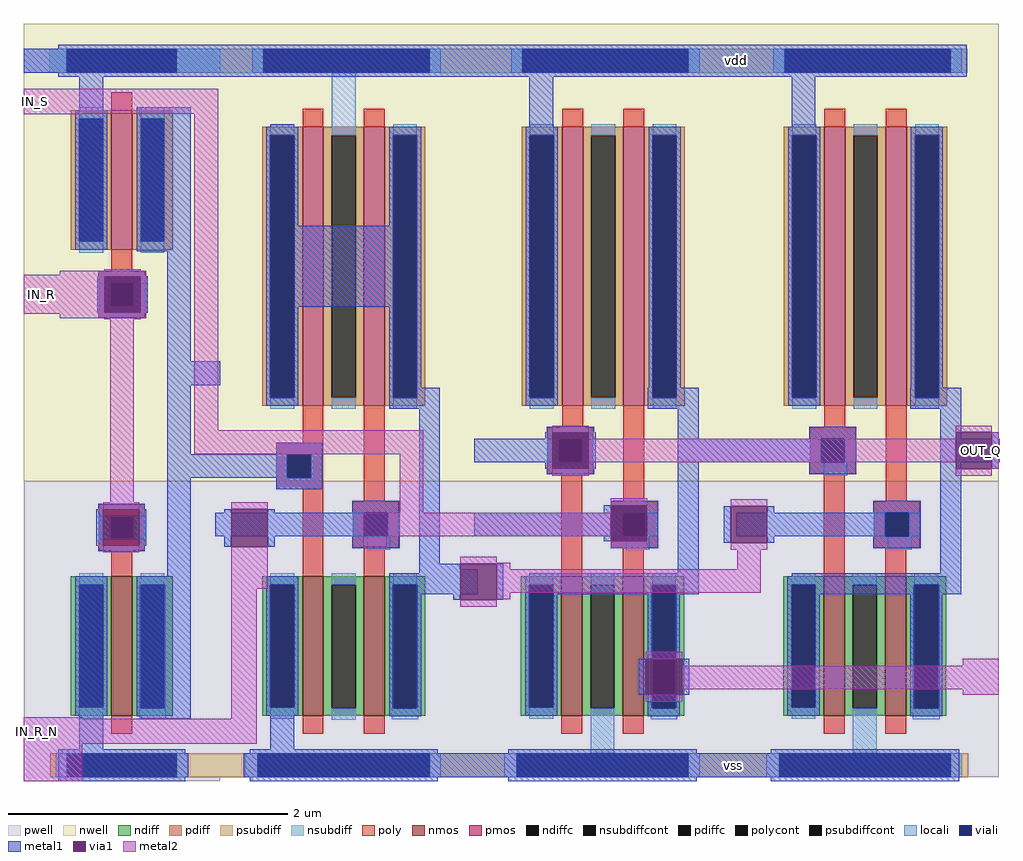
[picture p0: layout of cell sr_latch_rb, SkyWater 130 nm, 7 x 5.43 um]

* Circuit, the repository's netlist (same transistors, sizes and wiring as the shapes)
* NGSPICE file created from sr_latch_rb.ext - technology: sky130A

.subckt sky130_fd_pr__nfet_01v8_BXYDM4 a_15_n131# a_n15_n157# a_n73_n131# VSUBS
X0 a_15_n131# a_n15_n157# a_n73_n131# VSUBS sky130_fd_pr__nfet_01v8 ad=0.29 pd=2.58 as=0.29 ps=2.58 w=1 l=0.15
.ends

.subckt sky130_fd_pr__pfet_01v8_7PK3FC a_n73_n64# a_n33_n161# m1_n141_190# a_15_n64#
+ w_n141_n178#
X0 a_15_n64# a_n33_n161# a_n73_n64# w_n141_n178# sky130_fd_pr__pfet_01v8 ad=0.29 pd=2.58 as=0.29 ps=2.58 w=1 l=0.15
.ends

.subckt inv vin vout vdd vss
XXMn vout vin vss vss sky130_fd_pr__nfet_01v8_BXYDM4
Xsky130_fd_pr__pfet_01v8_7PK3FC_0 vdd vin vdd vout vdd sky130_fd_pr__pfet_01v8_7PK3FC
.ends

.subckt sky130_fd_pr__pfet_01v8_7P3MHC a_n16_n190# w_n141_n200# a_n74_n164# a_14_n164#
X0 a_14_n164# a_n16_n190# a_n74_n164# w_n141_n200# sky130_fd_pr__pfet_01v8 ad=0.58 pd=4.58 as=0.58 ps=4.58 w=2 l=0.15
.ends

.subckt nor IN_A IN_B OUT vdd vss
Xsky130_fd_pr__pfet_01v8_7P3MHC_1 IN_B vdd OUT sky130_fd_pr__pfet_01v8_7P3MHC_1/a_14_n164#
+ sky130_fd_pr__pfet_01v8_7P3MHC
Xsky130_fd_pr__pfet_01v8_7P3MHC_2 IN_A vdd sky130_fd_pr__pfet_01v8_7P3MHC_1/a_14_n164#
+ vdd sky130_fd_pr__pfet_01v8_7P3MHC
X0 OUT IN_B vss vss sky130_fd_pr__nfet_01v8 ad=0.29 pd=2.58 as=0.145 ps=1.29 w=1 l=0.15
X1 vss IN_A OUT vss sky130_fd_pr__nfet_01v8 ad=0.145 pd=1.29 as=0.29 ps=2.58 w=1 l=0.15
.ends

.subckt nand IN_A IN_B OUT vdd vss
Xsky130_fd_pr__pfet_01v8_7P3MHC_1 IN_B vdd OUT vdd sky130_fd_pr__pfet_01v8_7P3MHC
Xsky130_fd_pr__pfet_01v8_7P3MHC_2 IN_A vdd vdd OUT sky130_fd_pr__pfet_01v8_7P3MHC
X0 OUT IN_B drain_mna vss sky130_fd_pr__nfet_01v8 ad=0.29 pd=2.58 as=0.145 ps=1.29 w=1 l=0.15
X1 drain_mna IN_A vss vss sky130_fd_pr__nfet_01v8 ad=0.145 pd=1.29 as=0.29 ps=2.58 w=1 l=0.15
.ends

.subckt sr_latch_rb IN_S IN_R IN_R_N OUT_Q vdd vss
Xinv_0 IN_R inv_0/vout vdd vss inv
XX_NOR_TOP OUT_Q IN_S X_NOR_TOP/OUT vdd vss nor
XX_NOR_BOTTOM X_NOR_TOP/OUT nand_0/OUT OUT_Q vdd vss nor
Xnand_0 inv_0/vout IN_R_N nand_0/OUT vdd vss nand
.ends

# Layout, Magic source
magic
tech sky130A
magscale 1 2
<< nwell >>
rect -6629 1370 -5316 1404
<< pwell >>
rect -6628 360 -5312 394
<< psubdiff >>
rect -6628 360 -5312 394
<< nsubdiff >>
rect -6629 1370 -5316 1404
<< metal1 >>
rect -6616 1364 -5314 1410
rect -6432 789 -6358 823
rect -6020 811 -5986 845
rect -5918 802 -5908 854
rect -5856 802 -5846 854
rect -5340 802 -5330 854
rect -5278 802 -5268 854
rect -6378 690 -6368 744
rect -6316 690 -6306 744
rect -6020 705 -5986 739
rect -5834 698 -5824 750
rect -5772 698 -5762 750
rect -5662 696 -5652 748
rect -5600 696 -5590 748
rect -6078 658 -6040 666
rect -6050 614 -6040 658
rect -5988 614 -5978 666
rect -5784 478 -5774 530
rect -5722 478 -5712 530
rect -6604 360 -6430 394
rect -6350 360 -5333 394
<< via1 >>
rect -5908 802 -5856 854
rect -5330 802 -5278 854
rect -6368 690 -6316 744
rect -5824 698 -5772 750
rect -5652 696 -5600 748
rect -6040 614 -5988 666
rect -5774 478 -5722 530
<< metal2 >>
rect -6666 1311 -6387 1347
rect -6666 1310 -6582 1311
rect -6614 1080 -6552 1086
rect -6666 1024 -6552 1080
rect -6614 1018 -6552 1024
rect -6421 857 -6387 1311
rect -6421 823 -6093 857
rect -6368 744 -6316 754
rect -6127 739 -6093 823
rect -5908 854 -5856 864
rect -5330 854 -5278 864
rect -5856 811 -5330 845
rect -5908 792 -5856 802
rect -5278 845 -5268 854
rect -5278 811 -5267 845
rect -5278 802 -5268 811
rect -5330 792 -5278 802
rect -5824 750 -5772 760
rect -6179 705 -5824 739
rect -6179 690 -6145 705
rect -6368 630 -6316 690
rect -5824 688 -5772 698
rect -5652 748 -5600 758
rect -5652 686 -5600 696
rect -6040 667 -5988 676
rect -6040 666 -5968 667
rect -6666 444 -6582 446
rect -6368 444 -6332 630
rect -5988 658 -5968 666
rect -5643 658 -5609 686
rect -5988 624 -5609 658
rect -5988 615 -5968 624
rect -6040 604 -5988 614
rect -5774 530 -5722 540
rect -5320 520 -5268 530
rect -5722 486 -5268 520
rect -5320 478 -5268 486
rect -5774 468 -5722 478
rect -6666 408 -6332 444
rect -6666 354 -6582 408
use inv  inv_0
transform 1 0 -7644 0 1 -434
box 978 788 1260 1874
use nand  nand_0
transform 1 0 -5192 0 1 -180
box -1200 534 -823 1620
use nor  X_NOR_BOTTOM
transform 1 0 -4445 0 1 -180
box -1199 534 -823 1620
use nor  X_NOR_TOP
transform 1 0 -4821 0 1 -180
box -1199 534 -823 1620
<< labels >>
flabel metal2 -5320 802 -5268 854 7 FreeSans 320 0 0 0 OUT_Q
port 3 w default output
flabel metal1 -5959 360 -5337 394 0 FreeSans 320 0 0 0 vss
port 5 nsew default bidirectional
flabel metal1 -5951 1370 -5337 1404 0 FreeSans 320 0 0 0 vdd
port 4 nsew default bidirectional
flabel metal2 -6666 1026 -6614 1078 3 FreeSans 320 0 0 0 IN_R
port 1 e
flabel metal2 -6666 1312 -6632 1346 3 FreeSans 320 0 0 0 IN_S
port 0 e default input
flabel metal2 -6664 408 -6630 444 1 FreeSans 320 0 0 0 IN_R_N
port 2 n default input
<< end >>

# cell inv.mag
magic
tech sky130A
magscale 1 2
<< nwell >>
rect 978 1218 1260 1437
<< pwell >>
rect 978 788 1260 1218
<< psubdiff >>
rect 1016 794 1040 828
rect 1198 794 1222 828
<< psubdiffcont >>
rect 1040 794 1198 828
<< poly >>
rect 1104 1453 1134 1504
rect 1086 1169 1152 1185
rect 1086 1135 1102 1169
rect 1136 1135 1152 1169
rect 1086 1119 1152 1135
rect 1104 1082 1134 1119
<< polycont >>
rect 1102 1135 1136 1169
<< locali >>
rect 1086 1135 1102 1169
rect 1136 1135 1152 1169
rect 1024 794 1040 828
rect 1198 794 1214 828
<< viali >>
rect 1040 1804 1198 1838
rect 1102 1135 1136 1169
rect 1040 794 1198 828
<< metal1 >>
rect 1028 1838 1210 1844
rect 1028 1804 1040 1838
rect 1198 1804 1210 1838
rect 1028 1798 1210 1804
rect 1058 1562 1092 1798
rect 1140 1548 1218 1754
rect 1086 1512 1152 1520
rect 1084 1460 1094 1512
rect 1146 1460 1156 1512
rect 1086 1452 1152 1460
rect 1184 1390 1218 1548
rect 1184 1356 1260 1390
rect 1085 1178 1152 1186
rect 1082 1126 1092 1178
rect 1144 1126 1154 1178
rect 1085 1118 1152 1126
rect 1184 1070 1218 1356
rect 1058 834 1092 1070
rect 1146 878 1218 1070
rect 1028 828 1210 834
rect 1028 794 1040 828
rect 1198 794 1210 828
rect 1028 788 1210 794
<< via1 >>
rect 1094 1460 1146 1512
rect 1092 1169 1144 1178
rect 1092 1135 1102 1169
rect 1102 1135 1136 1169
rect 1136 1135 1144 1169
rect 1092 1126 1144 1135
<< metal2 >>
rect 1094 1520 1146 1522
rect 978 1503 1032 1514
rect 1084 1512 1154 1520
rect 1084 1503 1094 1512
rect 978 1469 1094 1503
rect 978 1458 1032 1469
rect 1084 1460 1094 1469
rect 1146 1460 1154 1512
rect 1084 1452 1154 1460
rect 1094 1450 1146 1452
rect 1102 1188 1136 1450
rect 1092 1178 1144 1188
rect 1092 1116 1144 1126
use sky130_fd_pr__pfet_01v8_7PK3FC  sky130_fd_pr__pfet_01v8_7PK3FC_0
transform 1 0 1119 0 1 1614
box -141 -178 141 260
use sky130_fd_pr__nfet_01v8_BXYDM4  XMn
transform 1 0 1119 0 1 1013
box -106 -216 104 102
<< labels >>
flabel metal1 1040 1804 1198 1838 0 FreeSans 320 0 0 0 vdd
port 3 nsew default bidirectional
flabel metal1 1226 1356 1260 1390 7 FreeSans 320 0 0 0 vout
port 2 w default output
flabel metal1 1040 794 1198 828 0 FreeSans 320 0 0 0 vss
port 4 nsew default bidirectional
flabel metal2 978 1460 1030 1512 3 FreeSans 320 0 0 0 vin
port 1 e default input
<< end >>

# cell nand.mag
magic
tech sky130A
magscale 1 2
<< nwell >>
rect -1198 1512 -823 1620
rect -1199 964 -823 1512
<< pwell >>
rect -1200 962 -823 964
rect -1199 540 -823 962
<< nmos >>
rect -1074 628 -1044 828
rect -986 628 -956 828
<< ndiff >>
rect -1132 816 -1074 828
rect -1132 640 -1120 816
rect -1086 640 -1074 816
rect -1132 628 -1074 640
rect -1044 816 -986 828
rect -1044 639 -1032 816
rect -998 639 -986 816
rect -1044 628 -986 639
rect -956 816 -898 828
rect -956 639 -944 816
rect -910 639 -898 816
rect -956 628 -898 639
<< ndiffc >>
rect -1120 640 -1086 816
rect -1032 639 -998 816
rect -944 639 -910 816
<< psubdiff >>
rect -1163 540 -1138 574
rect -892 540 -868 574
<< nsubdiff >>
rect -1154 1550 -1130 1584
rect -892 1550 -868 1584
<< psubdiffcont >>
rect -1138 540 -892 574
<< nsubdiffcont >>
rect -1130 1550 -892 1584
<< poly >>
rect -1074 1019 -1044 1072
rect -1112 1003 -1044 1019
rect -1112 969 -1096 1003
rect -1062 969 -1044 1003
rect -1112 953 -1044 969
rect -1074 828 -1044 953
rect -986 935 -956 1072
rect -1002 919 -936 935
rect -1002 885 -986 919
rect -952 885 -936 919
rect -1002 869 -936 885
rect -986 866 -952 869
rect -986 828 -956 866
rect -1074 602 -1044 628
rect -986 602 -956 628
<< polycont >>
rect -1096 969 -1062 1003
rect -986 885 -952 919
<< locali >>
rect -1146 1550 -1130 1584
rect -892 1550 -876 1584
rect -1032 1460 -998 1550
rect -1112 1003 -1046 1019
rect -1112 969 -1096 1003
rect -1062 969 -1046 1003
rect -1112 953 -1046 969
rect -1002 885 -986 919
rect -952 885 -936 919
rect -982 866 -948 885
rect -1120 816 -1086 832
rect -1120 624 -1086 640
rect -1032 816 -998 832
rect -944 816 -910 832
rect -1032 622 -998 639
rect -946 639 -944 816
rect -910 639 -908 816
rect -946 623 -908 639
rect -1156 540 -1138 574
rect -892 540 -876 574
<< viali >>
rect -1130 1550 -892 1584
rect -1120 1084 -1086 1460
rect -944 1084 -910 1460
rect -1096 969 -1062 1003
rect -986 885 -952 919
rect -1120 640 -1086 816
rect -944 639 -910 816
rect -1138 540 -892 574
<< metal1 >>
rect -1142 1584 -880 1590
rect -1142 1550 -1130 1584
rect -892 1550 -880 1584
rect -1142 1544 -880 1550
rect -1120 1472 -1086 1476
rect -1126 1460 -1080 1472
rect -1126 1084 -1120 1460
rect -1086 1330 -1080 1460
rect -950 1460 -904 1472
rect -950 1330 -944 1460
rect -1086 1214 -944 1330
rect -1086 1084 -1080 1214
rect -1126 1072 -1080 1084
rect -950 1084 -944 1214
rect -910 1098 -904 1460
rect -910 1084 -877 1098
rect -950 1068 -877 1084
rect -1112 1003 -1046 1019
rect -1199 969 -1096 1003
rect -1062 969 -1046 1003
rect -1112 953 -1046 969
rect -1003 919 -935 936
rect -1199 885 -986 919
rect -952 885 -935 919
rect -1003 868 -935 885
rect -907 838 -877 1068
rect -907 832 -823 838
rect -1126 816 -1080 828
rect -1126 640 -1120 816
rect -1086 640 -1080 816
rect -1126 628 -1080 640
rect -950 816 -823 832
rect -950 639 -944 816
rect -910 802 -823 816
rect -910 639 -904 802
rect -1120 580 -1086 628
rect -950 627 -904 639
rect -1150 574 -880 580
rect -1150 540 -1138 574
rect -892 540 -880 574
rect -1150 534 -880 540
use sky130_fd_pr__pfet_01v8_7P3MHC  sky130_fd_pr__pfet_01v8_7P3MHC_1
transform -1 0 -972 0 1 1236
box -141 -200 138 276
use sky130_fd_pr__pfet_01v8_7P3MHC  sky130_fd_pr__pfet_01v8_7P3MHC_2
transform -1 0 -1060 0 1 1236
box -141 -200 138 276
<< labels >>
flabel metal1 -1199 885 -1165 919 3 FreeSans 160 0 0 0 IN_B
port 1 e default input
flabel metal1 -1138 540 -892 574 0 FreeSans 320 0 0 0 vss
port 4 nsew default bidirectional
flabel metal1 -1130 1550 -892 1584 0 FreeSans 320 0 0 0 vdd
port 3 nsew default bidirectional
flabel metal1 -1199 969 -1165 1003 3 FreeSans 160 0 0 0 IN_A
port 0 e default input
flabel ndiffc -1014 728 -1014 728 1 FreeSans 80 0 0 0 drain_mna
flabel metal1 -857 803 -823 837 7 FreeSans 160 0 0 0 OUT
port 2 w default output
<< end >>

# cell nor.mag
magic
tech sky130A
magscale 1 2
<< nwell >>
rect -1199 964 -823 1620
<< pwell >>
rect -1199 540 -823 964
<< nmos >>
rect -1074 628 -1044 828
rect -986 628 -956 828
<< ndiff >>
rect -1132 816 -1074 828
rect -1132 640 -1120 816
rect -1086 640 -1074 816
rect -1132 628 -1074 640
rect -1044 816 -986 828
rect -1044 639 -1032 816
rect -998 639 -986 816
rect -1044 628 -986 639
rect -956 816 -898 828
rect -956 639 -944 816
rect -910 639 -898 816
rect -956 628 -898 639
<< ndiffc >>
rect -1120 640 -1086 816
rect -1032 639 -998 816
rect -944 639 -910 816
<< psubdiff >>
rect -1163 540 -1138 574
rect -892 540 -868 574
<< nsubdiff >>
rect -1154 1550 -1130 1584
rect -892 1550 -868 1584
<< psubdiffcont >>
rect -1138 540 -892 574
<< nsubdiffcont >>
rect -1130 1550 -892 1584
<< poly >>
rect -1073 1048 -1044 1072
rect -1073 1041 -1043 1048
rect -1094 1025 -1028 1041
rect -1094 991 -1078 1025
rect -1044 991 -1028 1025
rect -1094 975 -1028 991
rect -1074 828 -1044 975
rect -985 935 -955 1072
rect -1002 919 -936 935
rect -1002 885 -986 919
rect -952 885 -936 919
rect -1002 869 -936 885
rect -986 866 -952 869
rect -986 828 -956 866
rect -1074 602 -1044 628
rect -986 602 -956 628
<< polycont >>
rect -1078 991 -1044 1025
rect -986 885 -952 919
<< locali >>
rect -1146 1550 -1130 1584
rect -892 1550 -876 1584
rect -1094 991 -1078 1025
rect -1044 991 -1028 1025
rect -1074 972 -1040 991
rect -1002 885 -986 919
rect -952 885 -936 919
rect -982 866 -948 885
rect -1120 816 -1086 832
rect -1120 624 -1086 640
rect -1032 816 -998 832
rect -944 816 -910 832
rect -1032 574 -998 639
rect -946 639 -944 816
rect -910 639 -908 816
rect -946 623 -908 639
rect -1156 540 -1138 574
rect -892 540 -876 574
<< viali >>
rect -1130 1550 -892 1584
rect -1119 1084 -1085 1460
rect -943 1084 -909 1460
rect -1078 991 -1044 1025
rect -986 885 -952 919
rect -1120 640 -1086 816
rect -944 639 -910 816
rect -1138 540 -892 574
<< metal1 >>
rect -1142 1584 -880 1590
rect -1142 1550 -1130 1584
rect -892 1550 -880 1584
rect -1142 1544 -880 1550
rect -1120 1472 -1086 1544
rect -1125 1460 -1079 1472
rect -1125 1084 -1119 1460
rect -1085 1084 -1079 1460
rect -949 1460 -903 1472
rect -949 1098 -943 1460
rect -1125 1072 -1079 1084
rect -950 1084 -943 1098
rect -909 1098 -903 1460
rect -909 1084 -877 1098
rect -950 1068 -877 1084
rect -1095 1025 -1027 1042
rect -1199 991 -1078 1025
rect -1044 991 -1027 1025
rect -1095 974 -1027 991
rect -907 1025 -877 1068
rect -907 991 -823 1025
rect -1003 919 -935 936
rect -1199 885 -986 919
rect -952 885 -935 919
rect -1003 868 -935 885
rect -907 832 -877 991
rect -1120 828 -877 832
rect -1126 816 -877 828
rect -1126 640 -1120 816
rect -1086 802 -944 816
rect -1086 640 -1080 802
rect -1126 628 -1080 640
rect -950 639 -944 802
rect -910 802 -877 816
rect -910 639 -904 802
rect -950 627 -904 639
rect -1150 574 -880 580
rect -1150 540 -1138 574
rect -892 540 -880 574
rect -1150 534 -880 540
use sky130_fd_pr__pfet_01v8_7P3MHC  sky130_fd_pr__pfet_01v8_7P3MHC_1
transform -1 0 -971 0 1 1236
box -141 -200 138 276
use sky130_fd_pr__pfet_01v8_7P3MHC  sky130_fd_pr__pfet_01v8_7P3MHC_2
transform -1 0 -1059 0 1 1236
box -141 -200 138 276
<< labels >>
flabel metal1 -1199 991 -1165 1025 3 FreeSans 160 0 0 0 IN_A
port 0 e default input
flabel metal1 -1199 885 -1165 919 3 FreeSans 160 0 0 0 IN_B
port 1 e default input
flabel metal1 -857 991 -823 1025 7 FreeSans 160 0 0 0 OUT
port 2 w default output
flabel metal1 -1130 1550 -892 1584 0 FreeSans 320 0 0 0 vdd
port 3 nsew default bidirectional
flabel metal1 -1138 540 -892 574 0 FreeSans 320 0 0 0 vss
port 4 nsew default bidirectional
<< end >>

# cell sky130_fd_pr__pfet_01v8_7P3MHC: kit device sky130_fd_pr__pfet_01v8, w 2.0 l 0.15 m 1 nf 1 diffcov 100 polycov 100 guard 1 glc 0 grc 0 gtc 1 gbc 0 tbcov 100 rlcov 100 topc 0 botc 1 poverlap 0 doverlap 1 lmin 0.15 wmin 0.42 compatible {sky130_fd_pr__pfet_01v8 sky130_fd_pr__pfet_01v8_lvt sky130_fd_pr__pfet_01v8_hvt sky130_fd_pr__pfet_g5v0d10v5} full_metal 0 viasrc 100 viadrn 100 viagate 100 viagb 0 viagr 0 viagl 0 viagt 0

# cell sky130_fd_pr__pfet_01v8_7PK3FC: kit device sky130_fd_pr__pfet_01v8, w 1.0 l 0.15 m 1 nf 1 diffcov 100 polycov 100 guard 1 glc 0 grc 0 gtc 1 gbc 0 tbcov 100 rlcov 100 topc 0 botc 1 poverlap 0 doverlap 1 lmin 0.15 wmin 0.42 compatible {sky130_fd_pr__pfet_01v8 sky130_fd_pr__pfet_01v8_lvt sky130_fd_pr__pfet_01v8_hvt sky130_fd_pr__pfet_g5v0d10v5} full_metal 0 viasrc 100 viadrn 100 viagate 100 viagb 0 viagr 0 viagl 0 viagt 0

# cell sky130_fd_pr__nfet_01v8_BXYDM4: kit device sky130_fd_pr__nfet_01v8, w 1.0 l 0.15 m 1 nf 1 diffcov 100 polycov 100 guard 1 glc 0 grc 0 gtc 0 gbc 1 tbcov 100 rlcov 100 topc 1 botc 0 poverlap 0 doverlap 1 lmin 0.15 wmin 0.42 compatible {sky130_fd_pr__nfet_01v8 sky130_fd_pr__nfet_01v8_lvt sky130_fd_bs_flash__special_sonosfet_star sky130_fd_pr__nfet_g5v0d10v5 sky130_fd_pr__nfet_05v0_nvt sky130_fd_pr__nfet_03v3_nvt} full_metal 0 viasrc 100 viadrn 100 viagate 100 viagb 0 viagr 0 viagl 0 viagt 0
